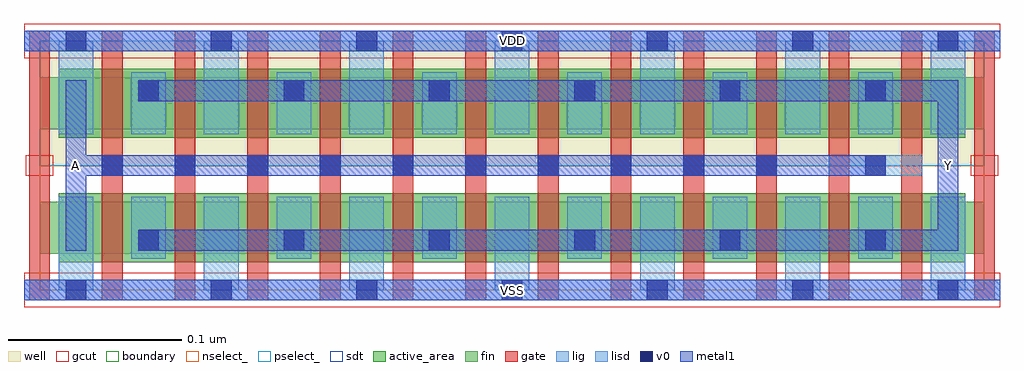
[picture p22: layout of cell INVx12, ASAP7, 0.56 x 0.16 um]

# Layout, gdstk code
import gdstk
lib = gdstk.Library(unit=1e-6, precision=2.5e-10)
def R(c, l, rs):  # rectangles x0, y0, x1, y1
    for r in rs: c.add(gdstk.rectangle(r[:2], r[2:], *l))
def A(c, l, x, y, w, h, nx, ny, dx, dy):  # array of equal rectangles
    R(c, l, [(x+i*dx, y+j*dy, x+i*dx+w, y+j*dy+h) for i in range(nx) for j in range(ny)])
def P(c, l, *ps):  # polygons
    for p in ps: c.add(gdstk.Polygon(p, *l))
well = (1, 0)
fin = (2, 0)
gate = (7, 0)
gcut = (10, 0)
active_area = (11, 0)
nselect_ = (12, 0)
pselect_ = (13, 0)
lig = (16, 0)
lisd = (17, 0)
v0 = (18, 0)
metal1 = (19, 0)
sdt = (88, 0)
boundary = (100, 0)

invx12 = lib.new_cell('INVx12')
R(invx12, well, [(0,0.072,0.546,0.144)])
R(invx12, fin, [(0,0.021,0.546,0.051), (0,0.093,0.546,0.123)])
A(invx12, gate, -0.006, -0.006, 0.012, 0.156, 14, 1, 0.042, 0)
R(invx12, gcut, [(-0.009,-0.01,0.555,0.01), (-0.008,0.066,0.008,0.078), (0.538,0.066,0.554,0.078), (-0.009,0.134,0.555,0.154)])
R(invx12, active_area, [(0.011,0.016,0.535,0.056), (0.011,0.088,0.535,0.128)])
R(invx12, nselect_, [(0,0,0.546,0.072)])
R(invx12, pselect_, [(0,0.072,0.546,0.144)])
A(invx12, lig, 0.036, 0.066, 0.012, 0.012, 10, 1, 0.042, 0)
R(invx12, lig, [(-0.009,-0.006,0.555,0.006), (0.456,0.066,0.51,0.078), (-0.009,0.138,0.555,0.15)])
A(invx12, lisd, 0.011, 0, 0.02, 0.054, 7, 2, 0.084, 0.09)
A(invx12, lisd, 0.053, 0.018, 0.02, 0.036, 6, 2, 0.084, 0.072)
A(invx12, v0, 0.015, -0.006, 0.012, 0.012, 7, 2, 0.084, 0.144)
A(invx12, v0, 0.057, 0.0227, 0.012, 0.012, 6, 2, 0.084, 0.0865)
A(invx12, v0, 0.036, 0.066, 0.012, 0.012, 10, 1, 0.042, 0)
R(invx12, v0, [(0.477,0.066,0.489,0.078)])
R(invx12, metal1, [(-0.009,-0.006,0.555,0.006), (-0.009,0.138,0.555,0.15)])
P(invx12, metal1, [(0.015,0.0227),(0.027,0.0227),(0.027,0.066),(0.489,0.066),(0.489,0.078),(0.027,0.078),(0.027,0.1212),(0.015,0.1212)],
  [(0.057,0.1092),(0.519,0.1092),(0.519,0.0348),(0.057,0.0348),(0.057,0.0227),(0.531,0.0227),(0.531,0.1212),(0.057,0.1212)])
A(invx12, sdt, 0.011, 0.021, 0.02, 0.03, 13, 2, 0.042, 0.072)
R(invx12, boundary, [(0,0,0.546,0.144)])
invx12.add(gdstk.Label('Y', (0.525,0.072), layer=19, texttype=251))
invx12.add(gdstk.Label('A', (0.021,0.072), layer=19, texttype=251))
invx12.add(gdstk.Label('VSS', (0.273,0), layer=19, texttype=251))
invx12.add(gdstk.Label('VDD', (0.273,0.144), layer=19, texttype=251))

lib.write_gds('INVx12.gds')
